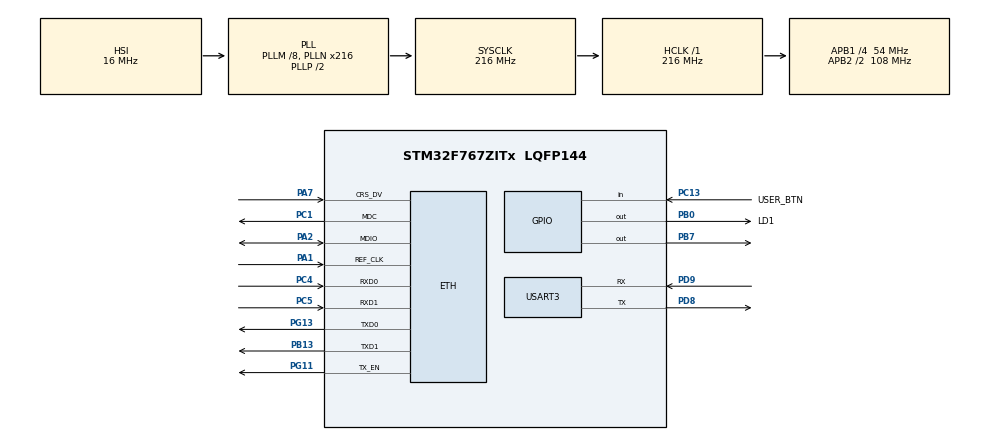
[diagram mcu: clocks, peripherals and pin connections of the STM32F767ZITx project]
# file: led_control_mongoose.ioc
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ETH.MediaInterface=HAL_ETH_RMII_MODE
FREERTOS.Tasks01=defaultTask,24,2048,StartDefaultTask,Default,NULL,Dynamic,NULL,NULL
FREERTOS.configTOTAL_HEAP_SIZE=65536
FREERTOS.configUSE_NEWLIB_REENTRANT=1
Mcu.Family=STM32F7
Mcu.Name=STM32F767ZITx
Mcu.Package=LQFP144
NVIC.ETH_IRQn=true\:5\:0\:false\:false\:false\:true\:true\:false\:true
NVIC.PriorityGroup=NVIC_PRIORITYGROUP_4
NVIC.TIM6_DAC_IRQn=true\:15\:0\:false\:false\:true\:false\:false\:true\:true
NVIC.TimeBase=TIM6_DAC_IRQn
NVIC.TimeBaseIP=TIM6
PA1.Mode=RMII
PA1.Signal=ETH_REF_CLK
PA2.Mode=RMII
PA2.Signal=ETH_MDIO
PA7.Mode=RMII
PA7.Signal=ETH_CRS_DV
PB0.GPIO_Label=LD1
PB0.Signal=GPIO_Output
PB13.Mode=RMII
PB13.Signal=ETH_TXD1
PB7.Signal=GPIO_Output
PC1.Mode=RMII
PC1.Signal=ETH_MDC
PC13.GPIO_Label=USER_BTN
PC13.Signal=GPIO_Input
PC4.Mode=RMII
PC4.Signal=ETH_RXD0
PC5.Mode=RMII
PC5.Signal=ETH_RXD1
PD8.Mode=Asynchronous
PD8.Signal=USART3_TX
PD9.Mode=Asynchronous
PD9.Signal=USART3_RX
PG11.Mode=RMII
PG11.Signal=ETH_TX_EN
PG13.Mode=RMII
PG13.Signal=ETH_TXD0
ProjectManager.HeapSize=0x200
ProjectManager.StackSize=0x400
ProjectManager.TargetToolchain=STM32CubeIDE
RCC.48MHZClocksFreq_Value=45000000
RCC.AHBFreq_Value=216000000
RCC.APB1CLKDivider=RCC_HCLK_DIV4
RCC.APB1Freq_Value=54000000
RCC.APB1TimFreq_Value=108000000
RCC.APB2CLKDivider=RCC_HCLK_DIV2
RCC.APB2Freq_Value=108000000
RCC.APB2TimFreq_Value=216000000
RCC.CortexFreq_Value=216000000
RCC.HCLKFreq_Value=216000000
RCC.HSE_VALUE=25000000
RCC.HSI_VALUE=16000000
RCC.LSE_VALUE=32768
RCC.PLLM=8
RCC.PLLN=216
RCC.PLLQ=9
RCC.SYSCLKFreq_VALUE=216000000
RCC.SYSCLKSource=RCC_SYSCLKSOURCE_PLLCLK
RCC.USBFreq_Value=48000000
RCC.VCOOutputFreq_Value=432000000
USART3.VirtualMode=VM_ASYNC
USART3.VirtualMode-Asynchronous=VM_ASYNC
VP_FREERTOS_VS_CMSIS_V2.Mode=CMSIS_V2
VP_RNG_VS_RNG.Mode=RNG_Activate
VP_SYS_VS_tim6.Mode=TIM6
board=custom

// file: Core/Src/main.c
/* USER CODE BEGIN Header */
/**
  ******************************************************************************
  * @file           : main.c
  * @brief          : Main program body
  ******************************************************************************
  * @attention
  *
  * Copyright (c) 2024 STMicroelectronics.
  * All rights reserved.
  *
  * This software is licensed under terms that can be found in the LICENSE file
  * in the root directory of this software component.
  * If no LICENSE file comes with this software, it is provided AS-IS.
  *
  ******************************************************************************
  */
/* USER CODE END Header */
#include "main.h"
#include "string.h"
#include "cmsis_os.h"

/* USER CODE BEGIN Includes */
#include "mongoose_glue.h"
#include "string.h"
/* USER CODE END Includes */

#if defined ( __ICCARM__ ) /*!< IAR Compiler */
#pragma location=0x2007c000
ETH_DMADescTypeDef  DMARxDscrTab[ETH_RX_DESC_CNT]; /* Ethernet Rx DMA Descriptors */
#pragma location=0x2007c0a0
ETH_DMADescTypeDef  DMATxDscrTab[ETH_TX_DESC_CNT]; /* Ethernet Tx DMA Descriptors */

#elif defined ( __CC_ARM )  /* MDK ARM Compiler */

__attribute__((at(0x2007c000))) ETH_DMADescTypeDef  DMARxDscrTab[ETH_RX_DESC_CNT]; /* Ethernet Rx DMA Descriptors */
__attribute__((at(0x2007c0a0))) ETH_DMADescTypeDef  DMATxDscrTab[ETH_TX_DESC_CNT]; /* Ethernet Tx DMA Descriptors */

#elif defined ( __GNUC__ ) /* GNU Compiler */

ETH_DMADescTypeDef DMARxDscrTab[ETH_RX_DESC_CNT] __attribute__((section(".RxDecripSection"))); /* Ethernet Rx DMA Descriptors */
ETH_DMADescTypeDef DMATxDscrTab[ETH_TX_DESC_CNT] __attribute__((section(".TxDecripSection")));   /* Ethernet Tx DMA Descriptors */
#endif

ETH_TxPacketConfig TxConfig;

ETH_HandleTypeDef heth;

RNG_HandleTypeDef hrng;

UART_HandleTypeDef huart3;

/* Definitions for defaultTask */
osThreadId_t defaultTaskHandle;
const osThreadAttr_t defaultTask_attributes = {
  .name = "defaultTask",
  .stack_size = 2048 * 4,
  .priority = (osPriority_t) osPriorityNormal,
};

void SystemClock_Config(void);
static void MX_GPIO_Init(void);
static void MX_ETH_Init(void);
static void MX_RNG_Init(void);
static void MX_USART3_UART_Init(void);
void StartDefaultTask(void *argument);

/* USER CODE BEGIN PFP */

// static struct leds s_leds = {false};
void my_get_leds(struct leds *data) {
  data->ld1 = HAL_GPIO_ReadPin(LD1_GPIO_Port, LD1_Pin);
  GPIO_PinState btn_state = HAL_GPIO_ReadPin(USER_BTN_GPIO_Port, USER_BTN_Pin);

  // Use the raw state value for a clearer debug message:
  printf("RAW BUTTON STATE: %d\n", btn_state); // GPIO_PIN_RESET is 0, GPIO_PIN_SET is 1

  // Keep the current logic that should work with GPIO_PULLUP and standard wiring:
  if (btn_state == GPIO_PIN_RESET){
      strcpy(data->user_btn, "PRESSED");
  } else {
      strcpy(data->user_btn, "RELEASED");
  }

  printf("GET called. LED: %d, Button: %s\n", data->ld1, data->user_btn);
}
void my_set_leds(struct leds *data) {
  HAL_GPIO_WritePin(LD1_GPIO_Port, LD1_Pin, data->ld1);
  printf("SET called\n");
}

/* USER CODE END PFP */

/* USER CODE BEGIN 0 */
bool mg_random(void *buf, size_t len) {  // Use on-board RNG
  for (size_t n = 0; n < len; n += sizeof(uint32_t)) {
    uint32_t r;
    HAL_RNG_GenerateRandomNumber(&hrng, &r);
    memcpy((char *) buf + n, &r, n + sizeof(r) > len ? len - n : sizeof(r));
  }
  return true; // TODO(): ensure successful RNG init, then return on false above
}

int _write(int fd, unsigned char *buf, int len) {
  if (fd == 1 || fd == 2) {                     // stdout or stderr ?
    HAL_UART_Transmit(&huart3, buf, len, 999);  // Print to the UART
  }
  return len;
}

/* USER CODE END 0 */

int main(void)
{

  /* MCU Configuration--------------------------------------------------------*/

  /* Reset of all peripherals, Initializes the Flash interface and the Systick. */
  HAL_Init();

  /* Configure the system clock */
  SystemClock_Config();

  /* Initialize all configured peripherals */
  MX_GPIO_Init();
  MX_ETH_Init();
  MX_RNG_Init();
  MX_USART3_UART_Init();

  /* Init scheduler */
  osKernelInitialize();

  /* Create the thread(s) */
  /* creation of defaultTask */
  defaultTaskHandle = osThreadNew(StartDefaultTask, NULL, &defaultTask_attributes);

  /* Start scheduler */
  osKernelStart();

  /* We should never get here as control is now taken by the scheduler */

  /* Infinite loop */
  while (1)
  {

  }
}

void SystemClock_Config(void)
{
  RCC_OscInitTypeDef RCC_OscInitStruct = {0};
  RCC_ClkInitTypeDef RCC_ClkInitStruct = {0};

  /** Configure the main internal regulator output voltage
  */
  __HAL_RCC_PWR_CLK_ENABLE();
  __HAL_PWR_VOLTAGESCALING_CONFIG(PWR_REGULATOR_VOLTAGE_SCALE1);

  /** Initializes the RCC Oscillators according to the specified parameters
  * in the RCC_OscInitTypeDef structure.
  */
  RCC_OscInitStruct.OscillatorType = RCC_OSCILLATORTYPE_HSI;
  RCC_OscInitStruct.HSIState = RCC_HSI_ON;
  RCC_OscInitStruct.HSICalibrationValue = RCC_HSICALIBRATION_DEFAULT;
  RCC_OscInitStruct.PLL.PLLState = RCC_PLL_ON;
  RCC_OscInitStruct.PLL.PLLSource = RCC_PLLSOURCE_HSI;
  RCC_OscInitStruct.PLL.PLLM = 8;
  RCC_OscInitStruct.PLL.PLLN = 216;
  RCC_OscInitStruct.PLL.PLLP = RCC_PLLP_DIV2;
  RCC_OscInitStruct.PLL.PLLQ = 9;
  RCC_OscInitStruct.PLL.PLLR = 2;
  if (HAL_RCC_OscConfig(&RCC_OscInitStruct) != HAL_OK)
  {
    Error_Handler();
  }

  /** Activate the Over-Drive mode
  */
  if (HAL_PWREx_EnableOverDrive() != HAL_OK)
  {
    Error_Handler();
  }

  /** Initializes the CPU, AHB and APB buses clocks
  */
  RCC_ClkInitStruct.ClockType = RCC_CLOCKTYPE_HCLK|RCC_CLOCKTYPE_SYSCLK
                              |RCC_CLOCKTYPE_PCLK1|RCC_CLOCKTYPE_PCLK2;
  RCC_ClkInitStruct.SYSCLKSource = RCC_SYSCLKSOURCE_PLLCLK;
  RCC_ClkInitStruct.AHBCLKDivider = RCC_SYSCLK_DIV1;
  RCC_ClkInitStruct.APB1CLKDivider = RCC_HCLK_DIV4;
  RCC_ClkInitStruct.APB2CLKDivider = RCC_HCLK_DIV2;

  if (HAL_RCC_ClockConfig(&RCC_ClkInitStruct, FLASH_LATENCY_7) != HAL_OK)
  {
    Error_Handler();
  }
}

static void MX_ETH_Init(void)
{

   static uint8_t MACAddr[6];

  heth.Instance = ETH;
  MACAddr[0] = 0x00;
  MACAddr[1] = 0x80;
  MACAddr[2] = 0xE1;
  MACAddr[3] = 0x00;
  MACAddr[4] = 0x00;
  MACAddr[5] = 0x00;
  heth.Init.MACAddr = &MACAddr[0];
  heth.Init.MediaInterface = HAL_ETH_RMII_MODE;
  heth.Init.TxDesc = DMATxDscrTab;
  heth.Init.RxDesc = DMARxDscrTab;
  heth.Init.RxBuffLen = 1524;

  if (HAL_ETH_Init(&heth) != HAL_OK)
  {
    Error_Handler();
  }

  memset(&TxConfig, 0 , sizeof(ETH_TxPacketConfig));
  TxConfig.Attributes = ETH_TX_PACKETS_FEATURES_CSUM | ETH_TX_PACKETS_FEATURES_CRCPAD;
  TxConfig.ChecksumCtrl = ETH_CHECKSUM_IPHDR_PAYLOAD_INSERT_PHDR_CALC;
  TxConfig.CRCPadCtrl = ETH_CRC_PAD_INSERT;

}

static void MX_RNG_Init(void)
{

  hrng.Instance = RNG;
  if (HAL_RNG_Init(&hrng) != HAL_OK)
  {
    Error_Handler();
  }

}

static void MX_USART3_UART_Init(void)
{

  huart3.Instance = USART3;
  huart3.Init.BaudRate = 115200;
  huart3.Init.WordLength = UART_WORDLENGTH_8B;
  huart3.Init.StopBits = UART_STOPBITS_1;
  huart3.Init.Parity = UART_PARITY_NONE;
  huart3.Init.Mode = UART_MODE_TX_RX;
  huart3.Init.HwFlowCtl = UART_HWCONTROL_NONE;
  huart3.Init.OverSampling = UART_OVERSAMPLING_16;
  huart3.Init.OneBitSampling = UART_ONE_BIT_SAMPLE_DISABLE;
  huart3.AdvancedInit.AdvFeatureInit = UART_ADVFEATURE_NO_INIT;
  if (HAL_UART_Init(&huart3) != HAL_OK)
  {
    Error_Handler();
  }

}

static void MX_GPIO_Init(void)
{
  GPIO_InitTypeDef GPIO_InitStruct = {0};

  /* GPIO Ports Clock Enable */
  __HAL_RCC_GPIOC_CLK_ENABLE();
  __HAL_RCC_GPIOA_CLK_ENABLE();
  __HAL_RCC_GPIOB_CLK_ENABLE();
  __HAL_RCC_GPIOD_CLK_ENABLE();
  __HAL_RCC_GPIOG_CLK_ENABLE();

  /*Configure GPIO pin Output Level */
  HAL_GPIO_WritePin(GPIOB, LD1_Pin|GPIO_PIN_7, GPIO_PIN_RESET);

  /*Configure GPIO pin : USER_BTN_Pin */
  GPIO_InitStruct.Pin = USER_BTN_Pin;
  GPIO_InitStruct.Mode = GPIO_MODE_INPUT;
  GPIO_InitStruct.Pull = GPIO_NOPULL;
  HAL_GPIO_Init(USER_BTN_GPIO_Port, &GPIO_InitStruct);

  /*Configure GPIO pins : LD1_Pin PB7 */
  GPIO_InitStruct.Pin = LD1_Pin|GPIO_PIN_7;
  GPIO_InitStruct.Mode = GPIO_MODE_OUTPUT_PP;
  GPIO_InitStruct.Pull = GPIO_NOPULL;
  GPIO_InitStruct.Speed = GPIO_SPEED_FREQ_LOW;
  HAL_GPIO_Init(GPIOB, &GPIO_InitStruct);

}

void StartDefaultTask(void *argument)
{
  /* USER CODE BEGIN 5 */
	mongoose_init();
	mongoose_set_http_handlers("leds", my_get_leds, my_set_leds);

	/* Infinite loop */
	for(;;)
	{

		mongoose_poll();
	    osDelay(1);
	}
  /* USER CODE END 5 */
}

void HAL_TIM_PeriodElapsedCallback(TIM_HandleTypeDef *htim)
{
  if (htim->Instance == TIM6)
  {
    HAL_IncTick();
  }
}

void Error_Handler(void)
{
  __disable_irq();
  while (1)
  {
  }
}
